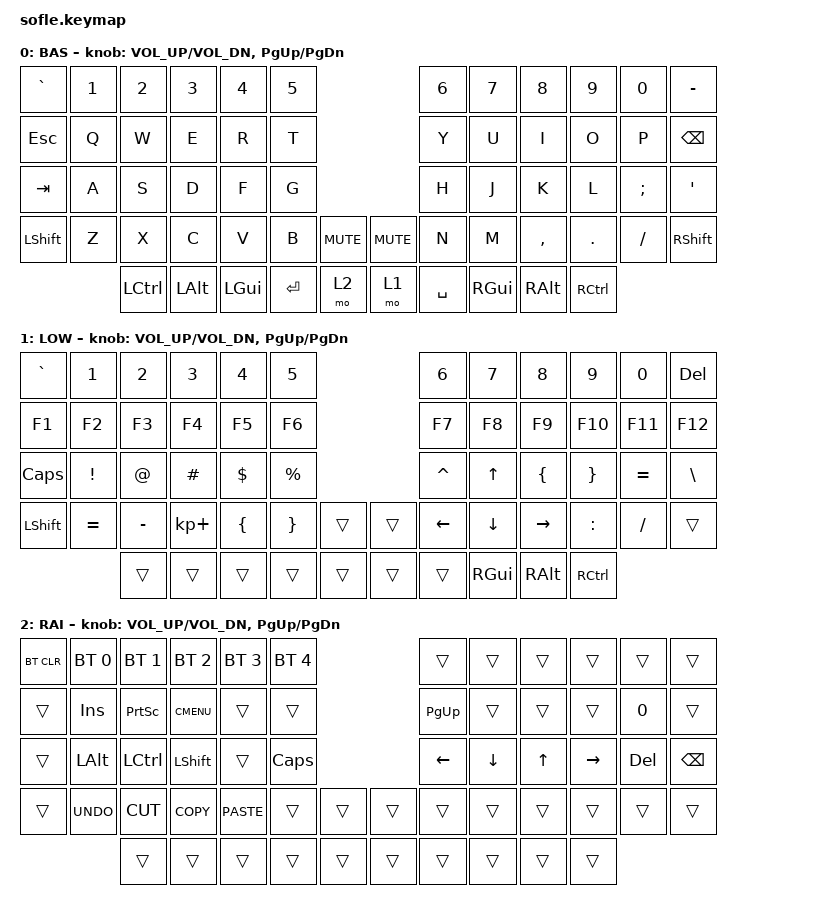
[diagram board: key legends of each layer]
/*
 * Copyright (c) 2020 The ZMK Contributors
 *
 * SPDX-License-Identifier: MIT
 */

#include <behaviors.dtsi>
#include <dt-bindings/zmk/bt.h>
#include <dt-bindings/zmk/keys.h>

/ {
    keymap {
        compatible = "zmk,keymap";

        default_layer {
            display-name = "BAS";

            // ------------------------------------------------------------------------------------------------------------
            // |  `    |  1  |  2  |  3   |  4   |  5   |                   |  6   |  7    |  8    |  9   |   0   |       |
            // |  ESC  |  Q  |  W  |  E   |  R   |  T   |                   |  Y   |  U    |  I    |  O   |   P   | BKSPC |
            // |  TAB  |  A  |  S  |  D   |  F   |  G   |                   |  H   |  J    |  K    |  L   |   ;   |   '   |
            // | SHIFT |  Z  |  X  |  C   |  V   |  B   |  MUTE  |  |       |  N   |  M    |  ,    |  .   |   /   | SHIFT |
            //               | GUI | ALT  | CTRL | LOWER|  ENTER |  | SPACE | RAISE| CTRL  | ALT   | GUI  |

            bindings = <
&kp GRAVE  &kp N1  &kp N2            &kp N3    &kp N4        &kp N5                                &kp N6     &kp N7         &kp N8     &kp N9             &kp N0    &kp MINUS
&kp ESC    &kp Q   &kp W             &kp E     &kp R         &kp T                                 &kp Y      &kp U          &kp I      &kp O              &kp P     &kp BSPC
&kp TAB    &kp A   &kp S             &kp D     &kp F         &kp G                                 &kp H      &kp J          &kp K      &kp L              &kp SEMI  &kp SQT
&kp LSHFT  &kp Z   &kp X             &kp C     &kp V         &kp B       &kp C_MUTE    &kp C_MUTE  &kp N      &kp M          &kp COMMA  &kp DOT            &kp FSLH  &kp RSHFT
                   &kp LEFT_CONTROL  &kp LALT  &kp LEFT_GUI  &kp RETURN  &mo 2         &mo 1       &kp SPACE  &kp RIGHT_GUI  &kp RALT   &kp RIGHT_CONTROL
            >;

            sensor-bindings = <&inc_dec_kp C_VOL_UP C_VOL_DN &inc_dec_kp PG_UP PG_DN>;
        };

        lower_layer {
            display-name = "LOW";

            // ------------------------------------------------------------------------------------------------------------
            // | `     |  F1 |  F2 |  F3  |  F4  |  F5  |                   |  F6  |  F7   |  F8   |  F9  |  F10  |  F11  |
            // | RAISE |   1 |   2 |   3  |   4  |   5  |                   |   6  |   7   |   8   |   9  |    0  |  F12  |
            // |       |  !  |  @  |  #   |  $   |  %   |                   |  ^   |  &    |  *    |  (   |   )   |   |   |
            // |       |  =  |  -  |  +   |  {   |  }   |        |  |       |  [   |  ]    |  ;    |  :   |   \   |       |
            //               |     |      |      |      |        |  |       |      |       |       |      |

            bindings = <
&kp GRAVE       &kp NUMBER_1  &kp NUMBER_2  &kp NUMBER_3  &kp NUMBER_4  &kp N5                       &kp NUMBER_6    &kp N7          &kp N8           &kp N9             &kp N0     &kp DELETE
&kp F1          &kp F2        &kp F3        &kp F4        &kp F5        &kp F6                       &kp F7          &kp F8          &kp F9           &kp F10            &kp F11    &kp F12
&kp CAPS        &kp EXCL      &kp AT        &kp HASH      &kp DLLR      &kp PRCNT                    &kp CARET       &kp UP_ARROW    &kp LEFT_BRACE   &kp RIGHT_BRACE    &kp EQUAL  &kp BACKSLASH
&kp LEFT_SHIFT  &kp EQUAL     &kp MINUS     &kp KP_PLUS   &kp LBRC      &kp RBRC   &trans    &trans  &kp LEFT_ARROW  &kp DOWN_ARROW  &kp RIGHT_ARROW  &kp COLON          &kp SLASH  &trans
                              &trans        &trans        &trans        &trans     &trans    &trans  &trans          &kp RIGHT_GUI   &kp RIGHT_ALT    &kp RIGHT_CONTROL
            >;

            sensor-bindings = <&inc_dec_kp C_VOL_UP C_VOL_DN &inc_dec_kp PG_UP PG_DN>;
        };

        raise_layer {
            display-name = "RAI";

            // ------------------------------------------------------------------------------------------------------------
            // |BTCLR| BT1  | BT2  |  BT3  |  BT4  |  BT5 |                |      |      |       |      |       |       |
            // |     | INS  | PSCR | GUI   |       |      |                | PGUP |      |       |      |       |       |
            // |     | ALT  | CTRL | SHIFT |       | CAPS |                |  <-  |   v  |   ^   |  ->  |  DEL  | BKSPC |
            // |     | UNDO | CUT  | COPY  | PASTE |      |      |  |      |      |      |       |      |       |       |
            //              |      |       |       |      |      |  |      |      |      |       |      |

            bindings = <
&bt BT_CLR  &bt BT_SEL 0  &bt BT_SEL 1  &bt BT_SEL 2  &bt BT_SEL 3  &bt BT_SEL 4                    &trans     &trans    &trans  &trans     &trans   &trans
&trans      &kp INS       &kp PSCRN     &kp K_CMENU   &trans        &trans                          &kp PG_UP  &trans    &trans  &trans     &kp N0   &trans
&trans      &kp LALT      &kp LCTRL     &kp LSHFT     &trans        &kp CLCK                        &kp LEFT   &kp DOWN  &kp UP  &kp RIGHT  &kp DEL  &kp BSPC
&trans      &kp K_UNDO    &kp K_CUT     &kp K_COPY    &kp K_PASTE   &trans        &trans    &trans  &trans     &trans    &trans  &trans     &trans   &trans
                          &trans        &trans        &trans        &trans        &trans    &trans  &trans     &trans    &trans  &trans
            >;

            sensor-bindings = <&inc_dec_kp C_VOL_UP C_VOL_DN &inc_dec_kp PG_UP PG_DN>;
        };
    };
};
